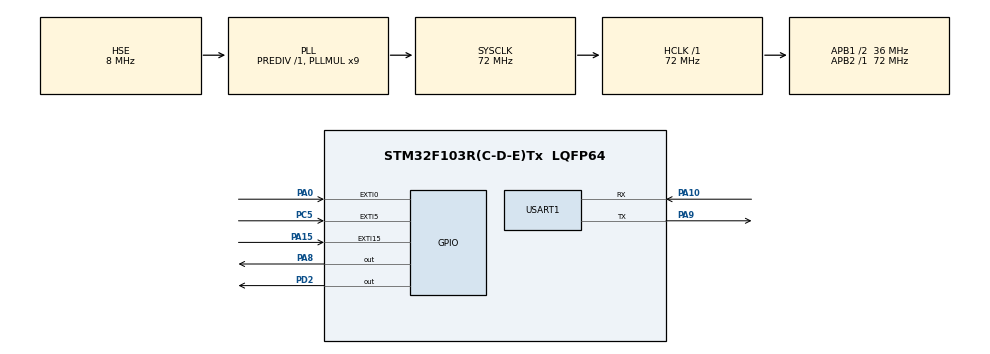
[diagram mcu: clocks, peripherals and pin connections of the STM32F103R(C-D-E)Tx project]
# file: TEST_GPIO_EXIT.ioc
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Mcu.Family=STM32F1
Mcu.Name=STM32F103R(C-D-E)Tx
Mcu.Package=LQFP64
NVIC.PriorityGroup=NVIC_PRIORITYGROUP_4
NVIC.USART1_IRQn=true\:0\:0\:false\:false\:true
PA0-WKUP.Signal=GPXTI0
PA10.Mode=Asynchronous
PA10.Signal=USART1_RX
PA13.Mode=Serial_Wire
PA13.Signal=SYS_JTMS-SWDIO
PA14.Mode=Serial_Wire
PA14.Signal=SYS_JTCK-SWCLK
PA15.Signal=GPXTI15
PA8.Signal=GPIO_Output
PA9.Mode=Asynchronous
PA9.Signal=USART1_TX
PC5.Signal=GPXTI5
PD0-OSC_IN.Mode=HSE-External-Oscillator
PD0-OSC_IN.Signal=RCC_OSC_IN
PD1-OSC_OUT.Mode=HSE-External-Oscillator
PD1-OSC_OUT.Signal=RCC_OSC_OUT
PD2.Signal=GPIO_Output
ProjectManager.HeapSize=0x200
ProjectManager.StackSize=0x400
ProjectManager.TargetToolchain=MDK-ARM V5
RCC.AHBFreq_Value=72000000
RCC.APB1CLKDivider=RCC_HCLK_DIV2
RCC.APB1Freq_Value=36000000
RCC.APB1TimFreq_Value=72000000
RCC.APB2Freq_Value=72000000
RCC.APB2TimFreq_Value=72000000
RCC.HCLKFreq_Value=72000000
RCC.PLLMUL=RCC_PLL_MUL9
RCC.PLLSourceVirtual=RCC_PLLSOURCE_HSE
RCC.SYSCLKFreq_VALUE=72000000
RCC.SYSCLKSource=RCC_SYSCLKSOURCE_PLLCLK
RCC.USBFreq_Value=72000000
USART1.VirtualMode=VM_ASYNC
board=TEST_GPIO_EXIT

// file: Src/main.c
/**
  ******************************************************************************
  * File Name          : main.c
  * Description        : Main program body
  ******************************************************************************
  ** This notice applies to any and all portions of this file
  * that are not between comment pairs USER CODE BEGIN and
  * USER CODE END. Other portions of this file, whether
  * inserted by the user or by software development tools
  * are owned by their respective copyright owners.
  *
  * COPYRIGHT(c) 2017 STMicroelectronics
  *
  * Redistribution and use in source and binary forms, with or without modification,
  * are permitted provided that the following conditions are met:
  *   1. Redistributions of source code must retain the above copyright notice,
  *      this list of conditions and the following disclaimer.
  *   2. Redistributions in binary form must reproduce the above copyright notice,
  *      this list of conditions and the following disclaimer in the documentation
  *      and/or other materials provided with the distribution.
  *   3. Neither the name of STMicroelectronics nor the names of its contributors
  *      may be used to endorse or promote products derived from this software
  *      without specific prior written permission.
  *
  * THIS SOFTWARE IS PROVIDED BY THE COPYRIGHT HOLDERS AND CONTRIBUTORS "AS IS"
  * AND ANY EXPRESS OR IMPLIED WARRANTIES, INCLUDING, BUT NOT LIMITED TO, THE
  * IMPLIED WARRANTIES OF MERCHANTABILITY AND FITNESS FOR A PARTICULAR PURPOSE ARE
  * DISCLAIMED. IN NO EVENT SHALL THE COPYRIGHT HOLDER OR CONTRIBUTORS BE LIABLE
  * FOR ANY DIRECT, INDIRECT, INCIDENTAL, SPECIAL, EXEMPLARY, OR CONSEQUENTIAL
  * DAMAGES (INCLUDING, BUT NOT LIMITED TO, PROCUREMENT OF SUBSTITUTE GOODS OR
  * SERVICES; LOSS OF USE, DATA, OR PROFITS; OR BUSINESS INTERRUPTION) HOWEVER
  * CAUSED AND ON ANY THEORY OF LIABILITY, WHETHER IN CONTRACT, STRICT LIABILITY,
  * OR TORT (INCLUDING NEGLIGENCE OR OTHERWISE) ARISING IN ANY WAY OUT OF THE USE
  * OF THIS SOFTWARE, EVEN IF ADVISED OF THE POSSIBILITY OF SUCH DAMAGE.
  *
  ******************************************************************************
  */
#include "main.h"
#include "stm32f1xx_hal.h"
#include "usart.h"
#include "gpio.h"

/* USER CODE BEGIN Includes */

#include "sys.h"
#include "led.h"
#include "key.h"

/* USER CODE END Includes */

/* USER CODE BEGIN PV */
/* Private variables ---------------------------------------------------------*/

/* USER CODE END PV */

void SystemClock_Config(void);

/* USER CODE BEGIN PFP */
/* Private function prototypes -----------------------------------------------*/

/* USER CODE END PFP */

int main(void)
{

  /* MCU Configuration----------------------------------------------------------*/

  /* Reset of all peripherals, Initializes the Flash interface and the Systick. */
  HAL_Init();

  /* Configure the system clock */
  SystemClock_Config();

  /* Initialize all configured peripherals */
  MX_GPIO_Init();
  MX_USART1_UART_Init();

  /* USER CODE BEGIN 2 */

	LED0 = 1;
	LED1 = 1;

  /* USER CODE END 2 */

  /* Infinite loop */
  while (1)
  {

  }

}

/** System Clock Configuration
*/
void SystemClock_Config(void)
{

  RCC_OscInitTypeDef RCC_OscInitStruct;
  RCC_ClkInitTypeDef RCC_ClkInitStruct;

    /**Initializes the CPU, AHB and APB busses clocks
    */
  RCC_OscInitStruct.OscillatorType = RCC_OSCILLATORTYPE_HSE;
  RCC_OscInitStruct.HSEState = RCC_HSE_ON;
  RCC_OscInitStruct.HSEPredivValue = RCC_HSE_PREDIV_DIV1;
  RCC_OscInitStruct.HSIState = RCC_HSI_ON;
  RCC_OscInitStruct.PLL.PLLState = RCC_PLL_ON;
  RCC_OscInitStruct.PLL.PLLSource = RCC_PLLSOURCE_HSE;
  RCC_OscInitStruct.PLL.PLLMUL = RCC_PLL_MUL9;
  if (HAL_RCC_OscConfig(&RCC_OscInitStruct) != HAL_OK)
  {
    _Error_Handler(__FILE__, __LINE__);
  }

    /**Initializes the CPU, AHB and APB busses clocks
    */
  RCC_ClkInitStruct.ClockType = RCC_CLOCKTYPE_HCLK|RCC_CLOCKTYPE_SYSCLK
                              |RCC_CLOCKTYPE_PCLK1|RCC_CLOCKTYPE_PCLK2;
  RCC_ClkInitStruct.SYSCLKSource = RCC_SYSCLKSOURCE_PLLCLK;
  RCC_ClkInitStruct.AHBCLKDivider = RCC_SYSCLK_DIV1;
  RCC_ClkInitStruct.APB1CLKDivider = RCC_HCLK_DIV2;
  RCC_ClkInitStruct.APB2CLKDivider = RCC_HCLK_DIV1;

  if (HAL_RCC_ClockConfig(&RCC_ClkInitStruct, FLASH_LATENCY_2) != HAL_OK)
  {
    _Error_Handler(__FILE__, __LINE__);
  }

    /**Configure the Systick interrupt time
    */
  HAL_SYSTICK_Config(HAL_RCC_GetHCLKFreq()/1000);

    /**Configure the Systick
    */
  HAL_SYSTICK_CLKSourceConfig(SYSTICK_CLKSOURCE_HCLK);

  /* SysTick_IRQn interrupt configuration */
  HAL_NVIC_SetPriority(SysTick_IRQn, 0, 0);
}

/* USER CODE BEGIN 4 */

void HAL_GPIO_EXIT_Callback()
{
	LED0 = 0;
	LED1 = 0;

	if(KEY0 == 0)
	{
		HAL_Delay(10);
		LED0 = 0;
		LED1 = 1;
	}
	if( KEY1 == 0 )
	{
		HAL_Delay(10);
		LED0 = 1;
		LED1 = 0;
	}
}

/* USER CODE END 4 */

void _Error_Handler(char * file, int line)
{
  while(1)
  {
  }
}

/************************ (C) COPYRIGHT STMicroelectronics *****END OF FILE****/
